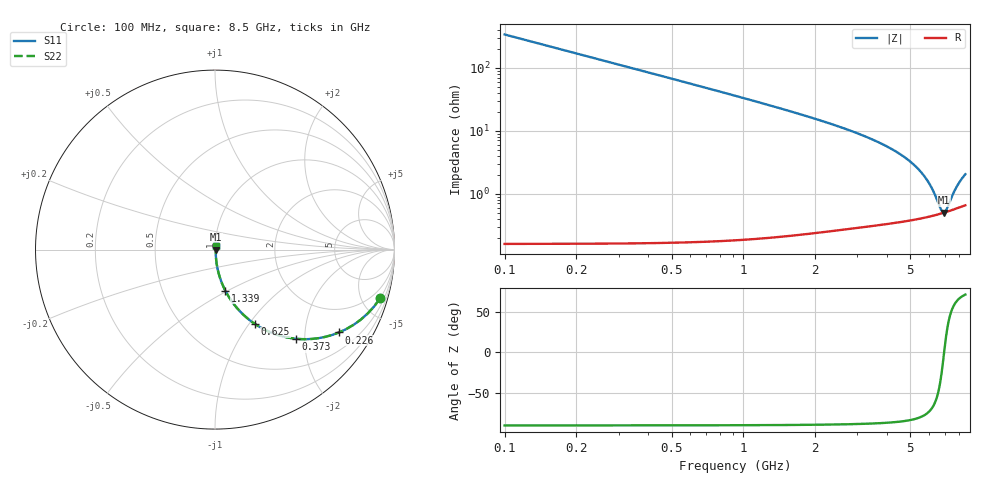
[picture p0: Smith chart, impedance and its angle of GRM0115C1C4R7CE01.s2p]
!Murata Part Number: GRM0115C1C4R7CE01
!These Parameters are Measured in Series Mode Connection
!Data Generated on Mar 30, 2021
!  o--ll--o
!Port1  Port2
!  o------o
!Operation Temp=25[degC], DC Bias Voltage=0[V]
!Freq. Start=100[MHz] Stop=9[GHz] 401[Steps]
# Hz S RI R 50
!Freq.(Hz) S11(Real) S11(Imag) S21(Real) S21(Imag) S12(Real) S12(Imag) S22(Real) S22(Imag)
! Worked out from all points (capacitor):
!   401 points, 100 MHz to 8.5 GHz, reference 50 ohm
!   read as one part in series: C = 4.7 pF near 142 MHz
!   lowest |Z| = 498 mohm at 6.904 GHz (marker M1)
!   series resonance near 6.922 GHz, so ESL is about 110 pH
!   S11 on the Smith chart (normalised r, x): 100 MHz: 1.00, -6.77; 226 MHz: 1.00, -2.99; 373 MHz: 1.00, -1.81; 625 MHz: 1.00, -1.07; 1.339 GHz: 1.00, -0.49; 8.5 GHz: 1.01, +0.04
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1e8  0.9196 -0.2716  0.0804 0.2716  0.0804 0.2716  0.9196 -0.2716
1.42e8  0.8502 -0.3566  0.1498 0.3566  0.1498 0.3566  0.8502 -0.3566
2.26e8  0.6912 -0.4615  0.3088 0.4615  0.3088 0.4615  0.6912 -0.4615
2.89e8  0.5776 -0.4933  0.4224 0.4933  0.4224 0.4933  0.5776 -0.4933
3.73e8  0.4503 -0.4966  0.5497 0.4966  0.5497 0.4966  0.4503 -0.4966
4.99e8  0.3133 -0.4626  0.6867 0.4626  0.6867 0.4626  0.3133 -0.4626
6.25e8  0.2246 -0.4157  0.7754 0.4157  0.7754 0.4157  0.2246 -0.4157
9.19e8  0.1168 -0.3187  0.8832 0.3187  0.8832 0.3187  0.1168 -0.3187
1.339e9  0.0574 -0.2284  0.9426 0.2284  0.9426 0.2284  0.0574 -0.2284
1.507e9  0.0454 -0.2033  0.9546 0.2033  0.9546 0.2033  0.0454 -0.2033
2.914e9  0.0117 -0.0936  0.9883 0.0936  0.9883 0.0936  0.0117 -0.0936
4.3e9  0.00568 -0.0475  0.9943 0.0475  0.9943 0.0475  0.00568 -0.0475
5.098e9  0.00467 -0.0298  0.9953 0.0298  0.9953 0.0298  0.00467 -0.0298
5.707e9  0.00446 -0.0186  0.9955 0.0186  0.9955 0.0186  0.00446 -0.0186
6.169e9  0.00452 -0.011  0.9955 0.011  0.9955 0.011  0.00452 -0.011
6.736e9  0.00482 -0.00258  0.9952 0.00258  0.9952 0.00258  0.00482 -0.00258
6.904e9  0.00495 -0.000243  0.995 0.000243  0.995 0.000243  0.00495 -0.000243
7.114e9  0.00514 0.00259  0.9949 -0.00259  0.9949 -0.00259  0.00514 0.00259
7.492e9  0.00553 0.00745  0.9945 -0.00745  0.9945 -0.00745  0.00553 0.00745
7.765e9  0.00586 0.0108  0.9941 -0.0108  0.9941 -0.0108  0.00586 0.0108
8.122e9  0.00633 0.0149  0.9937 -0.0149  0.9937 -0.0149  0.00633 0.0149
8.5e9  0.00686 0.019  0.9931 -0.019  0.9931 -0.019  0.00686 0.019
